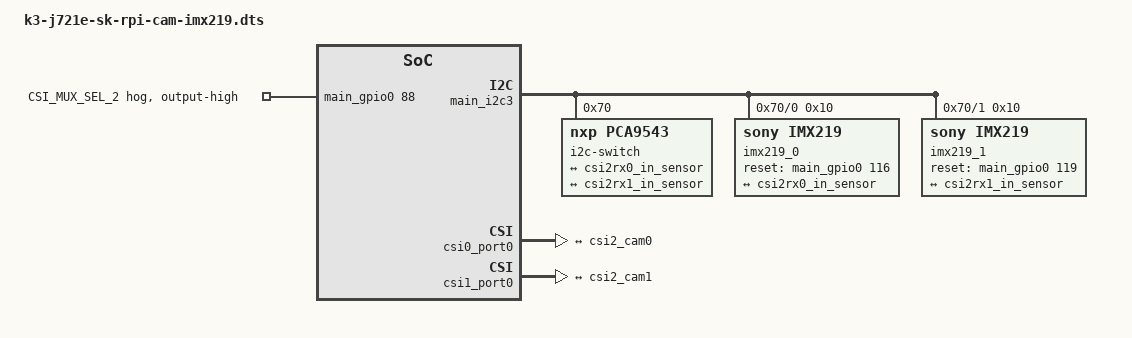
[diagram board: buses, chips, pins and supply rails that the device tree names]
// SPDX-License-Identifier: GPL-2.0
/**
 * DT Overlay for RPi Camera V2.1 (Sony IMX219) interfaced with CSI2 on J721E-EAIK board.
 *
 * Copyright (C) 2021 Texas Instruments Incorporated - https://www.ti.com/
 */

/dts-v1/;
/plugin/;

#include <dt-bindings/gpio/gpio.h>
#include <dt-bindings/interrupt-controller/irq.h>
#include <dt-bindings/pinctrl/k3.h>

/ {
	fragment@101 {
		target-path = "/";

		__overlay__ {
			clk_imx219_fixed: imx219-xclk {
				compatible = "fixed-clock";
				#clock-cells = <0>;
				clock-frequency = <24000000>;
			};
		};
	};
};

&main_pmx0 {
	main_rpi_cam0_reset_pins_default: main-rpi-cam0-reset-pins-default {
		pinctrl-single,pins = <
			J721E_IOPAD(0x1D4, PIN_OUTPUT, 7) /* (Y3) SPI1_CS0 */
		>;
	};

	main_rpi_cam1_reset_pins_default: main-rpi-cam1-reset-pins-default {
		pinctrl-single,pins = <
			J721E_IOPAD(0x1E0, PIN_OUTPUT, 7) /* (Y5) SPI1_D0 */
		>;
	};

	main_csi_mux_sel2_pins_default: main-csi-mux-sel2-pins-default {
		pinctrl-single,pins = <
			J721E_IOPAD(0x164, PIN_OUTPUT, 7) /* (V29) RGMII5_TD2 */
		>;
	};
};

&main_gpio0 {
	csi-mux-hog {
		/* CSI_MUX_SEL_2 */
		gpio-hog;
		gpios = <88 GPIO_ACTIVE_HIGH>;
		output-high;
		line-name = "CSI_MUX_SEL_2";
	};
};

&main_i2c3 {
	#address-cells = <1>;
	#size-cells = <0>;

	i2c-switch@70 {
		compatible = "nxp,pca9543";
		#address-cells = <1>;
		#size-cells = <0>;
		reg = <0x70>;

		pinctrl-names = "default";
		pinctrl-0 = <&main_csi_mux_sel2_pins_default>;

		i2c-alias-pool = /bits/ 16 <0x10 0x11>;

		/* CAM0 I2C */
		cam0_i2c: i2c@0 {
			#address-cells = <1>;
			#size-cells = <0>;
			reg = <0>;

			imx219_0: imx219_0@10 {
				compatible = "sony,imx219";
				reg = <0x10>;

				clocks = <&clk_imx219_fixed>;
				clock-names = "xclk";

				pinctrl-names = "default";
				pinctrl-0 = <&main_rpi_cam0_reset_pins_default>;
				reset-gpios = <&main_gpio0 116 GPIO_ACTIVE_HIGH>;

				port {
					csi2_cam0: endpoint {
						remote-endpoint = <&csi2rx0_in_sensor>;
						link-frequencies = /bits/ 64 <456000000>;
						clock-lanes = <0>;
						data-lanes = <1 2>;
					};
				};
			};
		};

		/* CAM1 I2C */
		cam1_i2c: i2c@1 {
			#address-cells = <1>;
			#size-cells = <0>;
			reg = <1>;

			imx219_1: imx219_1@10 {
				compatible = "sony,imx219";
				reg = <0x10>;

				clocks = <&clk_imx219_fixed>;
				clock-names = "xclk";

				pinctrl-names = "default";
				pinctrl-0 = <&main_rpi_cam1_reset_pins_default>;
				reset-gpios = <&main_gpio0 119 GPIO_ACTIVE_HIGH>;

				port {
					csi2_cam1: endpoint {
						remote-endpoint = <&csi2rx1_in_sensor>;
						link-frequencies = /bits/ 64 <456000000>;
						clock-lanes = <0>;
						data-lanes = <1 2>;
					};
				};
			};
		};
	};
};

&csi0_port0 {
	csi2rx0_in_sensor: endpoint {
		remote-endpoint = <&csi2_cam0>;
		bus-type = <4>; /* CSI2 DPHY. */
		clock-lanes = <0>;
		data-lanes = <1 2>;
	};
};

&csi1_port0 {
	csi2rx1_in_sensor: endpoint {
		remote-endpoint = <&csi2_cam1>;
		bus-type = <4>; /* CSI2 DPHY. */
		clock-lanes = <0>;
		data-lanes = <1 2>;
	};
};
